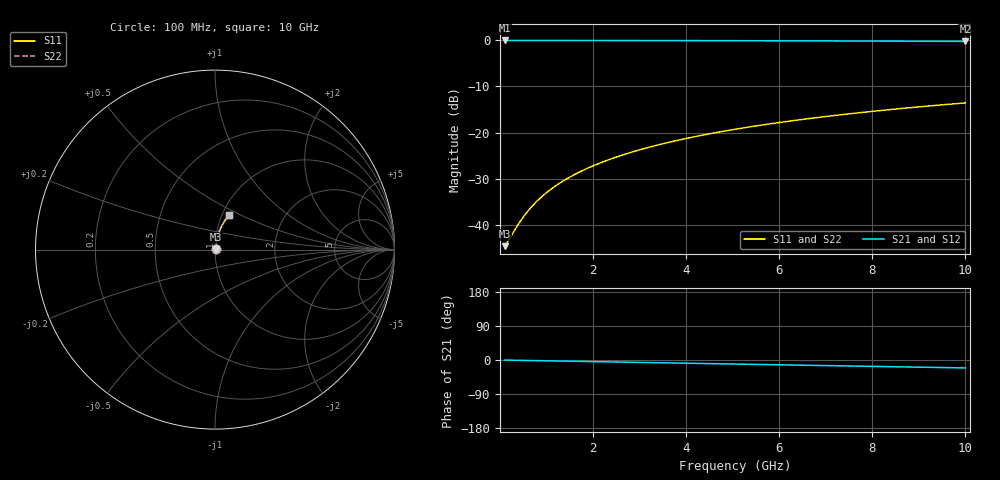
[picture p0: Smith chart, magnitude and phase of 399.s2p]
# Hz S RI R 50.00
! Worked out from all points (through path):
!   100 points, 100 MHz to 10 GHz, reference 50 ohm
!   highest |S21| = -0.05 dB at 100 MHz (marker M1); lowest = -0.2 dB at 10 GHz (marker M2)
!   group delay of S21, straight-line fit = 5.83 ps
!   lowest |S11| = -44.5 dB at 100 MHz (marker M3), VSWR 1.01, Z = 50.6 + j0.218 ohm
!   |S11| at or under -10 dB: start of sweep to end of sweep
!   |S22| runs from -44.5 to -13.6 dB; largest |S21 - S12| = 0
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1e8  0.00552 0.00215  0.9945 -0.00368  0.9945 -0.00368  0.00552 0.00215
2e8  0.00558 0.0043  0.9944 -0.00736  0.9944 -0.00736  0.00558 0.0043
4e8  0.00572 0.0086  0.9943 -0.0147  0.9943 -0.0147  0.00572 0.0086
5e8  0.00581 0.0108  0.9942 -0.0184  0.9942 -0.0184  0.00581 0.0108
6e8  0.00591 0.0129  0.994 -0.0221  0.994 -0.0221  0.00591 0.0129
7e8  0.00603 0.0151  0.9939 -0.0257  0.9939 -0.0257  0.00603 0.0151
8e8  0.00616 0.0172  0.9937 -0.0294  0.9937 -0.0294  0.00616 0.0172
1e9  0.00647 0.0215  0.9934 -0.0368  0.9934 -0.0368  0.00647 0.0215
1.2e9  0.00684 0.0258  0.993 -0.0441  0.993 -0.0441  0.00684 0.0258
1.5e9  0.00751 0.0322  0.9922 -0.0551  0.9922 -0.0551  0.00751 0.0322
1.8e9  0.00832 0.0386  0.9913 -0.0661  0.9913 -0.0661  0.00832 0.0386
2.1e9  0.00927 0.045  0.9902 -0.077  0.9902 -0.077  0.00927 0.045
2.5e9  0.0108 0.0534  0.9885 -0.0916  0.9885 -0.0916  0.0108 0.0534
2.9e9  0.0125 0.0618  0.9865 -0.1061  0.9865 -0.1061  0.0125 0.0618
3.4e9  0.015 0.0722  0.9836 -0.1242  0.9836 -0.1242  0.015 0.0722
4.2e9  0.0198 0.0887  0.9781 -0.1529  0.9781 -0.1529  0.0198 0.0887
5.1e9  0.0263 0.1067  0.9706 -0.1848  0.9706 -0.1848  0.0263 0.1067
5.9e9  0.033 0.1223  0.9628 -0.2127  0.9628 -0.2127  0.033 0.1223
6.7e9  0.0407 0.1375  0.954 -0.2401  0.954 -0.2401  0.0407 0.1375
7.5e9  0.0491 0.1521  0.9441 -0.2671  0.9441 -0.2671  0.0491 0.1521
8.4e9  0.0596 0.1678  0.9319 -0.2967  0.9319 -0.2967  0.0596 0.1678
1e10  0.0805 0.1939  0.9074 -0.3475  0.9074 -0.3475  0.0805 0.1939
